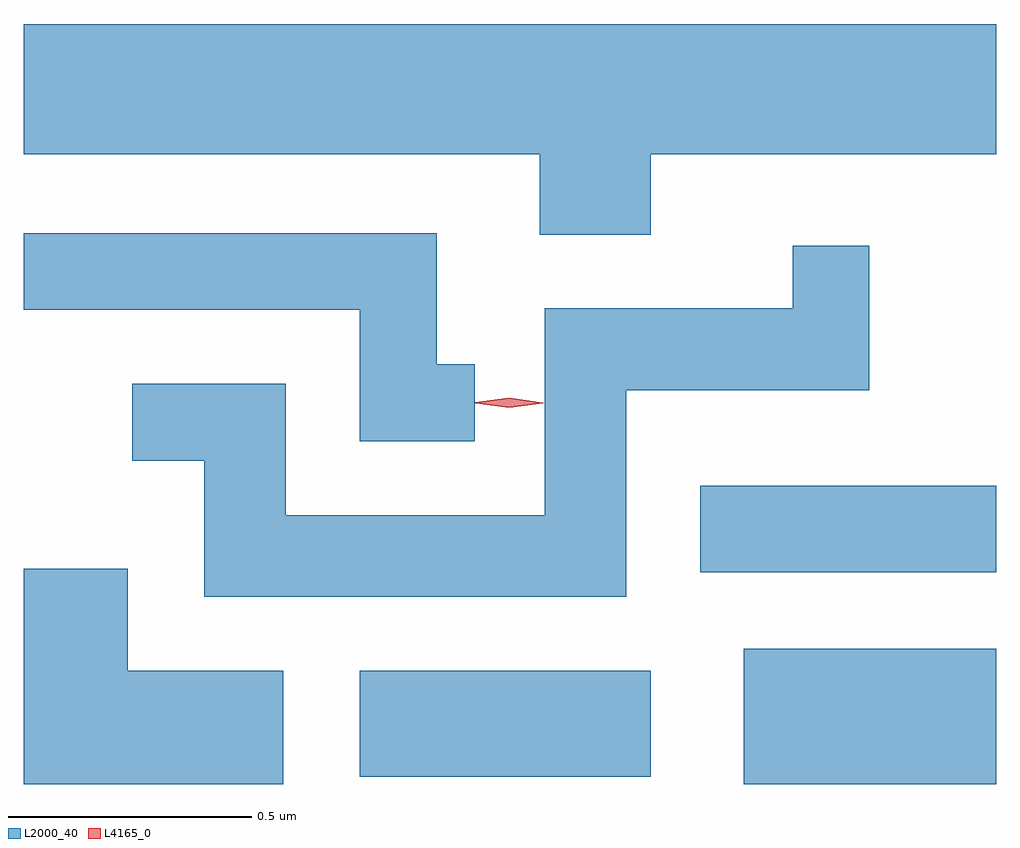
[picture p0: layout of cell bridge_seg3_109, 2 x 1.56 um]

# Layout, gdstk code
import gdstk
lib = gdstk.Library(unit=1e-6, precision=1e-09)
def R(c, l, rs):  # rectangles x0, y0, x1, y1
    for r in rs: c.add(gdstk.rectangle(r[:2], r[2:], *l))
def P(c, l, *ps):  # polygons
    for p in ps: c.add(gdstk.Polygon(p, *l))
L2000_40 = (2000, 40)
L4165_0 = (4165, 0)

bridge_seg3_109 = lib.new_cell('bridge_seg3_109')
R(bridge_seg3_109, L2000_40, [(949.071,1229.061,949.59,1229.339), (948.281,1229.076,948.879,1229.294), (948.981,1229.496,949.59,1229.674)])
P(bridge_seg3_109, L2000_40, [(948.879,1230.356),(949.59,1230.356),(949.59,1230.624),(947.59,1230.624),(947.59,1230.356),(948.651,1230.356),(948.651,1230.191),(948.879,1230.191)],
  [(948.518,1229.924),(948.439,1229.924),(948.439,1230.194),(947.59,1230.194),(947.59,1230.036),(948.281,1230.036),(948.281,1229.766),(948.518,1229.766)],
  [(948.829,1229.871),(949.329,1229.871),(949.329,1230.168),(949.171,1230.168),(949.171,1230.039),(948.661,1230.039),(948.661,1229.614),(948.129,1229.614),(948.129,1229.884),(947.813,1229.884),(947.813,1229.726),(947.961,1229.726),(947.961,1229.446),(948.829,1229.446)],
  [(948.124,1229.294),(947.804,1229.294),(947.804,1229.504),(947.59,1229.504),(947.59,1229.061),(948.124,1229.061)])
P(bridge_seg3_109, L4165_0, [(948.588,1229.835),(948.519,1229.844),(948.519,1229.845),(948.519,1229.846),(948.588,1229.855),(948.658,1229.845),(948.658,1229.844),(948.658,1229.844)])

lib.write_gds('bridge_seg3_109.gds')
